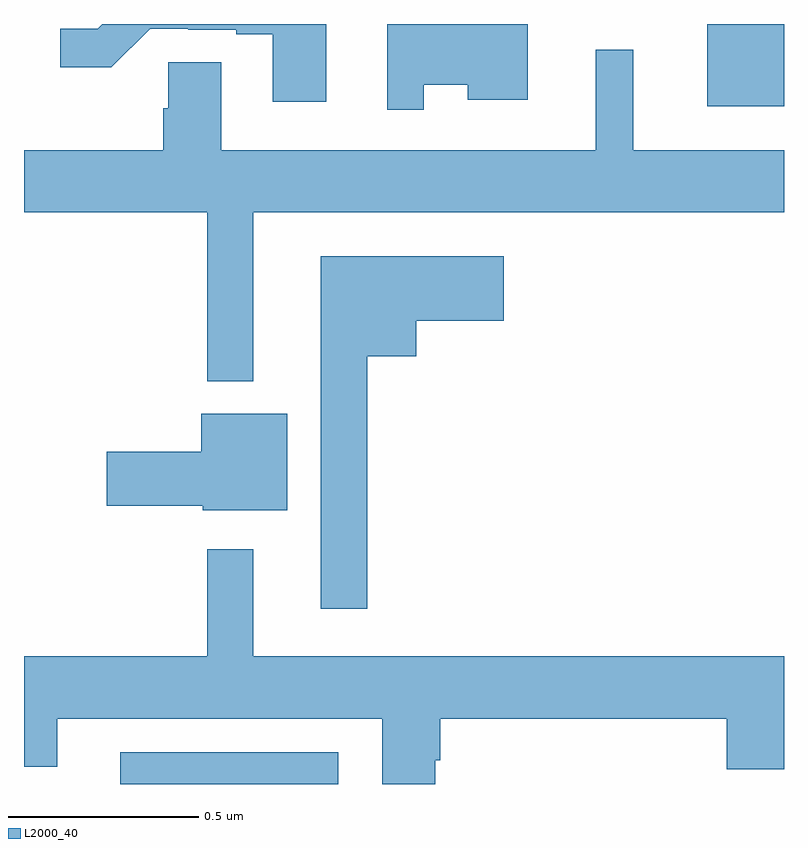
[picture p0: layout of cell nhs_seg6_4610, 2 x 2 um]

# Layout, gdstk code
import gdstk
lib = gdstk.Library(unit=1e-6, precision=1e-09)
def R(c, l, rs):  # rectangles x0, y0, x1, y1
    for r in rs: c.add(gdstk.rectangle(r[:2], r[2:], *l))
def P(c, l, *ps):  # polygons
    for p in ps: c.add(gdstk.Polygon(p, *l))
L2000_40 = (2000, 40)

nhs_seg6_4610 = lib.new_cell('nhs_seg6_4610')
R(nhs_seg6_4610, L2000_40, [(172.253,944.5,172.827,944.583), (173.798,946.283,174,946.5)])
P(nhs_seg6_4610, L2000_40, [(172.795,946.5),(172.206,946.5),(172.194,946.488),(172.095,946.488),(172.095,946.386),(172.23,946.386),(172.332,946.488),(172.432,946.488),(172.432,946.485),(172.559,946.485),(172.559,946.473),(172.655,946.473),(172.655,946.296),(172.795,946.296)],
  [(173.052,946.34),(173.168,946.34),(173.168,946.301),(173.326,946.301),(173.326,946.5),(172.956,946.5),(172.956,946.275),(173.052,946.275)],
  [(172.603,946.004),(174,946.004),(174,946.168),(173.603,946.168),(173.603,946.432),(173.504,946.432),(173.504,946.168),(172.519,946.168),(172.519,946.4),(172.38,946.4),(172.38,946.278),(172.367,946.278),(172.367,946.168),(172,946.168),(172,946.004),(172.482,946.004),(172.482,945.56),(172.603,945.56)],
  [(172.903,945.626),(173.032,945.626),(173.032,945.719),(173.263,945.719),(173.263,945.889),(172.781,945.889),(172.781,944.961),(172.903,944.961)],
  [(172.693,945.475),(172.466,945.475),(172.466,945.374),(172.218,945.374),(172.218,945.232),(172.47,945.232),(172.47,945.221),(172.693,945.221)],
  [(173.082,944.563),(173.096,944.563),(173.096,944.672),(173.849,944.672),(173.849,944.539),(174,944.539),(174,944.836),(172.603,944.836),(172.603,945.118),(172.482,945.118),(172.482,944.836),(172,944.836),(172,944.545),(172.087,944.545),(172.087,944.672),(172.943,944.672),(172.943,944.5),(173.082,944.5)])

lib.write_gds('nhs_seg6_4610.gds')
